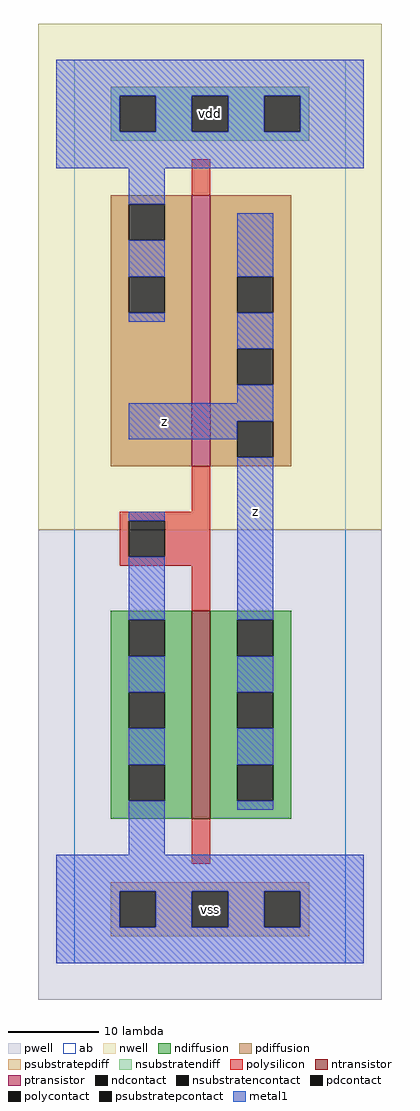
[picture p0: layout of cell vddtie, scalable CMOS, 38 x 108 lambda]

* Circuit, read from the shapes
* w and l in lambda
.subckt vddtie vdd vss z
M1 z vss vss vss nfet w=23 l=2
M2 z vss vdd vdd pfet w=30 l=2
.ends

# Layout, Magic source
magic
tech scmos
<< ab >>
rect 0 0 30 100
<< pwell >>
rect -4 -4 34 48
<< nwell >>
rect -4 48 34 104
<< polysilicon >>
rect 13 85 15 89
rect 13 50 15 55
rect 5 49 15 50
rect 5 45 6 49
rect 10 45 15 49
rect 5 44 15 45
rect 13 39 15 44
rect 13 11 15 16
<< ndiffusion >>
rect 4 38 13 39
rect 4 34 6 38
rect 10 34 13 38
rect 4 30 13 34
rect 4 26 6 30
rect 10 26 13 30
rect 4 22 13 26
rect 4 18 6 22
rect 10 18 13 22
rect 4 16 13 18
rect 15 38 24 39
rect 15 34 18 38
rect 22 34 24 38
rect 15 30 24 34
rect 15 26 18 30
rect 22 26 24 30
rect 15 22 24 26
rect 15 18 18 22
rect 22 18 24 22
rect 15 16 24 18
<< pdiffusion >>
rect 4 84 13 85
rect 4 80 6 84
rect 10 80 13 84
rect 4 76 13 80
rect 4 72 6 76
rect 10 72 13 76
rect 4 55 13 72
rect 15 76 24 85
rect 15 72 18 76
rect 22 72 24 76
rect 15 68 24 72
rect 15 64 18 68
rect 22 64 24 68
rect 15 60 24 64
rect 15 56 18 60
rect 22 56 24 60
rect 15 55 24 56
<< metal1 >>
rect -2 96 32 100
rect -2 92 5 96
rect 9 92 13 96
rect 17 92 21 96
rect 25 92 32 96
rect -2 88 32 92
rect 6 84 10 88
rect 6 76 10 80
rect 6 71 10 72
rect 18 76 22 83
rect 18 68 22 72
rect 18 62 22 64
rect 6 60 22 62
rect 6 58 18 60
rect 6 49 10 50
rect 6 38 10 45
rect 6 30 10 34
rect 6 22 10 26
rect 6 12 10 18
rect 18 38 22 56
rect 18 30 22 34
rect 18 22 22 26
rect 18 17 22 18
rect -2 8 32 12
rect -2 4 5 8
rect 9 4 13 8
rect 17 4 21 8
rect 25 4 32 8
rect -2 0 32 4
<< ntransistor >>
rect 13 16 15 39
<< ptransistor >>
rect 13 55 15 85
<< polycontact >>
rect 6 45 10 49
<< ndcontact >>
rect 6 34 10 38
rect 6 26 10 30
rect 6 18 10 22
rect 18 34 22 38
rect 18 26 22 30
rect 18 18 22 22
<< pdcontact >>
rect 6 80 10 84
rect 6 72 10 76
rect 18 72 22 76
rect 18 64 22 68
rect 18 56 22 60
<< psubstratepcontact >>
rect 5 4 9 8
rect 13 4 17 8
rect 21 4 25 8
<< nsubstratencontact >>
rect 5 92 9 96
rect 13 92 17 96
rect 21 92 25 96
<< psubstratepdiff >>
rect 4 8 26 9
rect 4 4 5 8
rect 9 4 13 8
rect 17 4 21 8
rect 25 4 26 8
rect 4 3 26 4
<< nsubstratendiff >>
rect 4 96 26 97
rect 4 92 5 96
rect 9 92 13 96
rect 17 92 21 96
rect 25 92 26 96
rect 4 91 26 92
<< labels >>
rlabel metal1 10 60 10 60 6 z
rlabel psubstratepcontact 15 6 15 6 6 vss
rlabel metal1 20 50 20 50 6 z
rlabel nsubstratencontact 15 94 15 94 6 vdd
<< end >>
